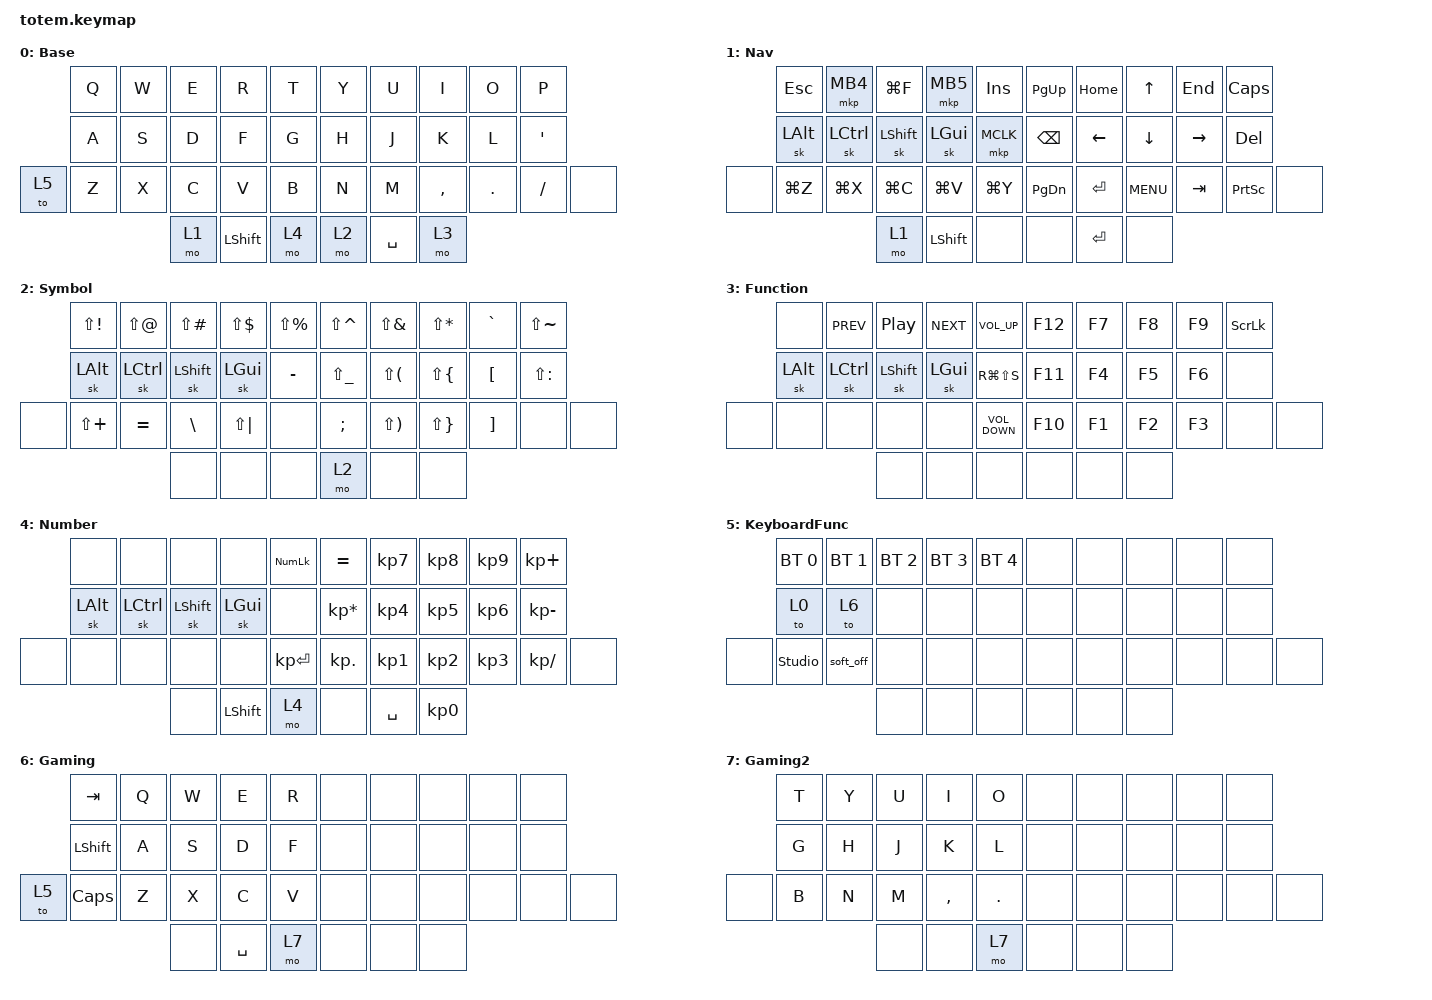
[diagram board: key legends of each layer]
//
//                                                        ▀▀▀▀▀     ▀▀▀▀▀          ▀▀█▀▀
//                                                        ▄▀▀▀▄  ▄  ▄▀▀▀▄  ▄  ▄▀▀▀▄  █  ▄▀▀▀▄
//                                                        █   █  █  █   █  █  █   █  █  █   █
//                                                         ▀▀▀   █   ▀▀▀   █   ▀▀▀   ▀   ▀▀▀
//                                                               █      ▄▄▄█▄▄▄    █   █  
//                                                               ▀      █  █  █     █▄█
//                                                             ▀▀▀▀▀    █  █  █      ▀
//                                                                      ▀  ▀  ▀
//
// ▄▄▄▄▄▄▄▄▄▄▄▄▄▄▄▄▄▄▄▄▄▄▄▄▄▄▄▄▄▄▄▄▄▄▄▄▄▄▄▄▄▄▄▄▄▄▄▄▄▄▄▄▄▄▄▄▄▄▄▄▄▄▄▄▄▄▄▄▄▄▄▄▄▄▄▄▄▄▄▄▄▄▄▄▄▄▄▄▄▄▄▄▄▄▄▄▄▄▄▄▄▄▄▄▄▄▄▄▄▄▄▄▄▄▄▄▄▄▄▄▄▄▄▄▄▄▄▄▄▄▄▄▄▄▄▄▄▄▄▄▄▄▄▄▄▄▄▄▄

#include <behaviors.dtsi>
#include <dt-bindings/zmk/bt.h>
#include <dt-bindings/zmk/keys.h>
#include <dt-bindings/zmk/pointing.h>

#define Base            0
#define Sym             1
#define Nav             2
#define Adjust          3

/ {
    conditional_layers { compatible = "zmk,conditional-layers"; };

    //               0   1   2   3   4                   5   6   7   8   9
    //               10  11  12  13  14                  15  16  17  18  19
    //           20  21  22  23  24  25                  26  27  28  29  30  31
    //                       32  33  34                  35  36  37

    keymap {
        compatible = "zmk,keymap";

        // Staandard QWERTY layout with layers for Symbols, Navigation, and Adjust functions
        // left thumb switches to symbol layer, right thumb switches to navigation layer
        // Edge keys are Esc and single quote

        Base {
            label = "Base";
            bindings = <
       &kp Q  &kp W  &kp E  &kp R           &kp T    &kp Y  &kp U      &kp I      &kp O    &kp P
       &kp A  &kp S  &kp D  &kp F           &kp G    &kp H  &kp J      &kp K      &kp L    &kp SQT
&to 5  &kp Z  &kp X  &kp C  &kp V           &kp B    &kp N  &kp M      &kp COMMA  &kp DOT  &kp SLASH  &none
                     &mo 1  &kp LEFT_SHIFT  &mo 4    &mo 2  &kp SPACE  &mo 3
            >;
        };

        Nav {
            bindings = <
       &kp ESC       &mkp MB4   &kp LG(F)       &mkp MB5        &kp INSERT    &kp PAGE_UP    &kp HOME   &kp UP      &kp END    &kp CAPS
       &sk LEFT_ALT  &sk LCTRL  &sk LEFT_SHIFT  &sk LEFT_GUI    &mkp MCLK     &kp BACKSPACE  &kp LEFT   &kp DOWN    &kp RIGHT  &kp DELETE
&none  &kp LG(Z)     &kp LG(X)  &kp LG(C)       &kp LG(V)       &kp LG(Y)     &kp PAGE_DOWN  &kp ENTER  &kp C_MENU  &kp TAB    &kp PRINTSCREEN  &none
                                &mo 1           &kp LEFT_SHIFT  &none         &none          &kp ENTER  &none
            >;

            label = "Nav";
        };

        Symbol {
            bindings = <
       &kp LS(EXCL)  &kp LS(AT)        &kp LS(POUND)   &kp LS(DLLR)  &kp LS(PRCNT)    &kp LS(CARET)  &kp LS(AMPS)  &kp LS(STAR)  &kp GRAVE  &kp LS(TILDE)
       &sk LEFT_ALT  &sk LEFT_CONTROL  &sk LEFT_SHIFT  &sk LEFT_GUI  &kp MINUS        &kp LS(UNDER)  &kp LS(LPAR)  &kp LS(LBRC)  &kp LBKT   &kp LS(COLON)
&none  &kp LS(PLUS)  &kp EQUAL         &kp BSLH        &kp LS(PIPE)  &none            &kp SEMI       &kp LS(RPAR)  &kp LS(RBRC)  &kp RBKT   &none          &none
                                       &none           &none         &none            &mo 2          &none         &none
            >;

            label = "Symbol";
        };

        Function {
            bindings = <
       &none         &kp C_PREV  &kp C_PLAY_PAUSE  &kp C_NEXT    &kp C_VOLUME_UP      &kp F12  &kp F7  &kp F8  &kp F9  &kp SCROLLLOCK
       &sk LEFT_ALT  &sk LCTRL   &sk LEFT_SHIFT    &sk LEFT_GUI  &kp RG(LS(S))        &kp F11  &kp F4  &kp F5  &kp F6  &none
&none  &none         &none       &none             &none         &kp C_VOLUME_DOWN    &kp F10  &kp F1  &kp F2  &kp F3  &none           &none
                                 &none             &none         &none                &none    &none   &none
            >;

            label = "Function";
        };

        Number {
            bindings = <
       &none         &none             &none           &none           &kp KP_NUMLOCK    &kp EQUAL        &kp KP_NUMBER_7  &kp KP_NUMBER_8  &kp KP_NUMBER_9  &kp KP_PLUS
       &sk LEFT_ALT  &sk LEFT_CONTROL  &sk LEFT_SHIFT  &sk LEFT_GUI    &none             &kp KP_ASTERISK  &kp KP_NUMBER_4  &kp KP_NUMBER_5  &kp KP_NUMBER_6  &kp KP_MINUS
&none  &none         &none             &none           &none           &kp KP_ENTER      &kp KP_DOT       &kp KP_NUMBER_1  &kp KP_NUMBER_2  &kp KP_NUMBER_3  &kp KP_DIVIDE  &none
                                       &none           &kp LEFT_SHIFT  &mo 4             &none            &kp SPACE        &kp KP_NUMBER_0
            >;

            label = "Number";
        };

        KeyboardFunc {
            bindings = <
       &bt BT_SEL 0    &bt BT_SEL 1  &bt BT_SEL 2  &bt BT_SEL 3  &bt BT_SEL 4    &none  &none  &none  &none  &none
       &to 0           &to 6         &none         &none         &none           &none  &none  &none  &none  &none
&none  &studio_unlock  &soft_off     &none         &none         &none           &none  &none  &none  &none  &none  &none
                                     &none         &none         &none           &none  &none  &none
            >;

            label = "KeyboardFunc";
        };

        Gaming {
            label = "Gaming";
            bindings = <
       &kp TAB    &kp Q  &kp W  &kp E      &kp R    &none  &none  &none  &none  &none
       &kp LSHFT  &kp A  &kp S  &kp D      &kp F    &none  &none  &none  &none  &none
&to 5  &kp CAPS   &kp Z  &kp X  &kp C      &kp V    &none  &none  &none  &none  &none  &none
                         &none  &kp SPACE  &mo 7    &none  &none  &none
            >;
        };

        Gaming2 {
            bindings = <
       &kp T  &kp Y  &kp U  &kp I      &kp O      &none  &none  &none  &none  &none
       &kp G  &kp H  &kp J  &kp K      &kp L      &none  &none  &none  &none  &none
&none  &kp B  &kp N  &kp M  &kp COMMA  &kp DOT    &none  &none  &none  &none  &none  &none
                     &none  &none      &mo 7      &none  &none  &none
            >;

            label = "Gaming2";
        };
    };
};
